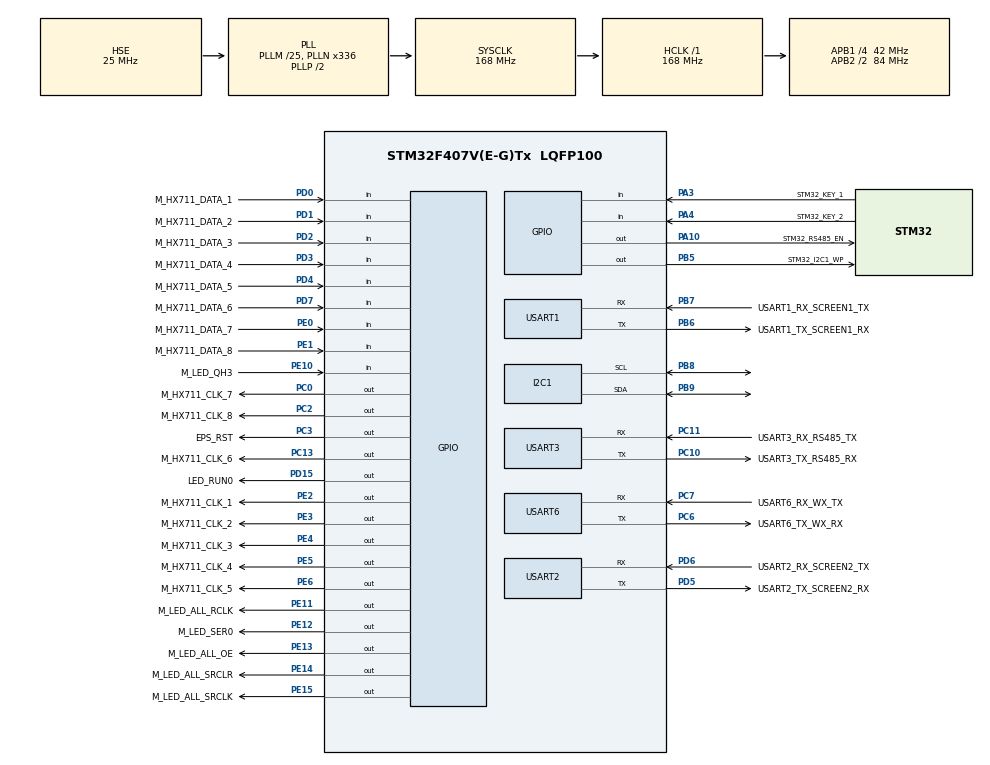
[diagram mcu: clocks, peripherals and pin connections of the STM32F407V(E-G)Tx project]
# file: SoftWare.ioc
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Dma.Request0=USART3_RX
Dma.Request1=USART3_TX
Dma.Request2=USART1_RX
Dma.Request3=USART1_TX
Dma.Request4=USART6_RX
Dma.Request5=USART6_TX
Dma.Request6=USART2_RX
Dma.Request7=USART2_TX
Dma.USART1_RX.2.Direction=DMA_PERIPH_TO_MEMORY
Dma.USART1_RX.2.FIFOMode=DMA_FIFOMODE_DISABLE
Dma.USART1_RX.2.Instance=DMA2_Stream2
Dma.USART1_RX.2.MemDataAlignment=DMA_MDATAALIGN_BYTE
Dma.USART1_RX.2.MemInc=DMA_MINC_ENABLE
Dma.USART1_RX.2.Mode=DMA_CIRCULAR
Dma.USART1_RX.2.PeriphDataAlignment=DMA_PDATAALIGN_BYTE
Dma.USART1_RX.2.PeriphInc=DMA_PINC_DISABLE
Dma.USART1_RX.2.Priority=DMA_PRIORITY_LOW
Dma.USART1_TX.3.Direction=DMA_MEMORY_TO_PERIPH
Dma.USART1_TX.3.FIFOMode=DMA_FIFOMODE_DISABLE
Dma.USART1_TX.3.Instance=DMA2_Stream7
Dma.USART1_TX.3.MemDataAlignment=DMA_MDATAALIGN_BYTE
Dma.USART1_TX.3.MemInc=DMA_MINC_ENABLE
Dma.USART1_TX.3.Mode=DMA_NORMAL
Dma.USART1_TX.3.PeriphDataAlignment=DMA_PDATAALIGN_BYTE
Dma.USART1_TX.3.PeriphInc=DMA_PINC_DISABLE
Dma.USART1_TX.3.Priority=DMA_PRIORITY_LOW
Dma.USART2_RX.6.Direction=DMA_PERIPH_TO_MEMORY
Dma.USART2_RX.6.FIFOMode=DMA_FIFOMODE_DISABLE
Dma.USART2_RX.6.Instance=DMA1_Stream5
Dma.USART2_RX.6.MemDataAlignment=DMA_MDATAALIGN_BYTE
Dma.USART2_RX.6.MemInc=DMA_MINC_ENABLE
Dma.USART2_RX.6.Mode=DMA_CIRCULAR
Dma.USART2_RX.6.PeriphDataAlignment=DMA_PDATAALIGN_BYTE
Dma.USART2_RX.6.PeriphInc=DMA_PINC_DISABLE
Dma.USART2_RX.6.Priority=DMA_PRIORITY_LOW
Dma.USART2_TX.7.Direction=DMA_MEMORY_TO_PERIPH
Dma.USART2_TX.7.FIFOMode=DMA_FIFOMODE_DISABLE
Dma.USART2_TX.7.Instance=DMA1_Stream6
Dma.USART2_TX.7.MemDataAlignment=DMA_MDATAALIGN_BYTE
Dma.USART2_TX.7.MemInc=DMA_MINC_ENABLE
Dma.USART2_TX.7.Mode=DMA_NORMAL
Dma.USART2_TX.7.PeriphDataAlignment=DMA_PDATAALIGN_BYTE
Dma.USART2_TX.7.PeriphInc=DMA_PINC_DISABLE
Dma.USART2_TX.7.Priority=DMA_PRIORITY_LOW
Dma.USART3_RX.0.Direction=DMA_PERIPH_TO_MEMORY
Dma.USART3_RX.0.FIFOMode=DMA_FIFOMODE_DISABLE
Dma.USART3_RX.0.Instance=DMA1_Stream1
Dma.USART3_RX.0.MemDataAlignment=DMA_MDATAALIGN_BYTE
Dma.USART3_RX.0.MemInc=DMA_MINC_ENABLE
Dma.USART3_RX.0.Mode=DMA_CIRCULAR
Dma.USART3_RX.0.PeriphDataAlignment=DMA_PDATAALIGN_BYTE
Dma.USART3_RX.0.PeriphInc=DMA_PINC_DISABLE
Dma.USART3_RX.0.Priority=DMA_PRIORITY_LOW
Dma.USART3_TX.1.Direction=DMA_MEMORY_TO_PERIPH
Dma.USART3_TX.1.FIFOMode=DMA_FIFOMODE_DISABLE
Dma.USART3_TX.1.Instance=DMA1_Stream3
Dma.USART3_TX.1.MemDataAlignment=DMA_MDATAALIGN_BYTE
Dma.USART3_TX.1.MemInc=DMA_MINC_ENABLE
Dma.USART3_TX.1.Mode=DMA_NORMAL
Dma.USART3_TX.1.PeriphDataAlignment=DMA_PDATAALIGN_BYTE
Dma.USART3_TX.1.PeriphInc=DMA_PINC_DISABLE
Dma.USART3_TX.1.Priority=DMA_PRIORITY_LOW
Dma.USART6_RX.4.Direction=DMA_PERIPH_TO_MEMORY
Dma.USART6_RX.4.FIFOMode=DMA_FIFOMODE_DISABLE
Dma.USART6_RX.4.Instance=DMA2_Stream1
Dma.USART6_RX.4.MemDataAlignment=DMA_MDATAALIGN_BYTE
Dma.USART6_RX.4.MemInc=DMA_MINC_ENABLE
Dma.USART6_RX.4.Mode=DMA_CIRCULAR
Dma.USART6_RX.4.PeriphDataAlignment=DMA_PDATAALIGN_BYTE
Dma.USART6_RX.4.PeriphInc=DMA_PINC_DISABLE
Dma.USART6_RX.4.Priority=DMA_PRIORITY_LOW
Dma.USART6_TX.5.Direction=DMA_MEMORY_TO_PERIPH
Dma.USART6_TX.5.FIFOMode=DMA_FIFOMODE_DISABLE
Dma.USART6_TX.5.Instance=DMA2_Stream6
Dma.USART6_TX.5.MemDataAlignment=DMA_MDATAALIGN_BYTE
Dma.USART6_TX.5.MemInc=DMA_MINC_ENABLE
Dma.USART6_TX.5.Mode=DMA_NORMAL
Dma.USART6_TX.5.PeriphDataAlignment=DMA_PDATAALIGN_BYTE
Dma.USART6_TX.5.PeriphInc=DMA_PINC_DISABLE
Dma.USART6_TX.5.Priority=DMA_PRIORITY_LOW
FREERTOS.Tasks01=defaultTask,0,128,StartDefaultTask,Default,NULL,Dynamic,NULL,NULL;appTask1Ms,-3,1024,StartappTask1Ms,Default,NULL,Dynamic,NULL,NULL
I2C1.I2C_Mode=I2C_Fast
Mcu.Family=STM32F4
Mcu.Name=STM32F407V(E-G)Tx
Mcu.Package=LQFP100
NVIC.DMA1_Stream1_IRQn=true\:5\:0\:false\:false\:true\:true\:false\:true\:true
NVIC.DMA1_Stream3_IRQn=true\:5\:0\:false\:false\:true\:true\:false\:true\:true
NVIC.DMA1_Stream5_IRQn=true\:5\:0\:false\:false\:true\:true\:false\:true\:true
NVIC.DMA1_Stream6_IRQn=true\:5\:0\:false\:false\:true\:true\:false\:true\:true
NVIC.DMA2_Stream1_IRQn=true\:5\:0\:false\:false\:true\:true\:false\:true\:true
NVIC.DMA2_Stream2_IRQn=true\:5\:0\:false\:false\:true\:true\:false\:true\:true
NVIC.DMA2_Stream6_IRQn=true\:5\:0\:false\:false\:true\:true\:false\:true\:true
NVIC.DMA2_Stream7_IRQn=true\:5\:0\:false\:false\:true\:true\:false\:true\:true
NVIC.PriorityGroup=NVIC_PRIORITYGROUP_4
NVIC.TIM6_DAC_IRQn=true\:15\:0\:false\:false\:true\:false\:false\:true\:true
NVIC.TimeBase=TIM6_DAC_IRQn
NVIC.TimeBaseIP=TIM6
NVIC.USART1_IRQn=true\:5\:0\:false\:false\:true\:true\:true\:true\:true
NVIC.USART2_IRQn=true\:5\:0\:false\:false\:true\:true\:true\:true\:true
NVIC.USART3_IRQn=true\:5\:0\:false\:false\:true\:true\:true\:true\:true
NVIC.USART6_IRQn=true\:5\:0\:false\:false\:true\:true\:true\:true\:true
PA10.GPIO_Label=STM32_RS485_EN
PA10.GPIO_PuPd=GPIO_PULLUP
PA10.PinState=GPIO_PIN_RESET
PA10.Signal=GPIO_Output
PA13.Mode=Serial_Wire
PA13.Signal=SYS_JTMS-SWDIO
PA14.Mode=Serial_Wire
PA14.Signal=SYS_JTCK-SWCLK
PA3.GPIO_Label=STM32_KEY_1
PA3.Signal=GPIO_Input
PA4.GPIO_Label=STM32_KEY_2
PA4.Signal=GPIO_Input
PB5.GPIO_Label=STM32_I2C1_WP
PB5.GPIO_Speed=GPIO_SPEED_FREQ_MEDIUM
PB5.PinState=GPIO_PIN_SET
PB5.Signal=GPIO_Output
PB6.GPIO_Label=USART1_TX_SCREEN1_RX
PB6.Mode=Asynchronous
PB6.Signal=USART1_TX
PB7.GPIO_Label=USART1_RX_SCREEN1_TX 
PB7.Mode=Asynchronous
PB7.Signal=USART1_RX
PB8.Mode=I2C
PB8.Signal=I2C1_SCL
PB9.Mode=I2C
PB9.Signal=I2C1_SDA
PC0.GPIO_Label=M_HX711_CLK_7
PC0.GPIO_ModeDefaultOutputPP=GPIO_MODE_OUTPUT_PP
PC0.GPIO_PuPd=GPIO_PULLUP
PC0.GPIO_Speed=GPIO_SPEED_FREQ_MEDIUM
PC0.PinState=GPIO_PIN_RESET
PC0.Signal=GPIO_Output
PC10.GPIO_Label=USART3_TX_RS485_RX
PC10.Mode=Asynchronous
PC10.Signal=USART3_TX
PC11.GPIO_Label=USART3_RX_RS485_TX
PC11.Mode=Asynchronous
PC11.Signal=USART3_RX
PC13-ANTI_TAMP.GPIO_Label=M_HX711_CLK_6
PC13-ANTI_TAMP.GPIO_ModeDefaultOutputPP=GPIO_MODE_OUTPUT_PP
PC13-ANTI_TAMP.GPIO_PuPd=GPIO_PULLUP
PC13-ANTI_TAMP.PinState=GPIO_PIN_RESET
PC13-ANTI_TAMP.Signal=GPIO_Output
PC2.GPIO_Label=M_HX711_CLK_8
PC2.GPIO_ModeDefaultOutputPP=GPIO_MODE_OUTPUT_PP
PC2.GPIO_PuPd=GPIO_PULLUP
PC2.GPIO_Speed=GPIO_SPEED_FREQ_MEDIUM
PC2.Signal=GPIO_Output
PC3.GPIO_Label=EPS_RST
PC3.GPIO_ModeDefaultOutputPP=GPIO_MODE_OUTPUT_PP
PC3.GPIO_PuPd=GPIO_PULLUP
PC3.Signal=GPIO_Output
PC6.GPIO_Label=USART6_TX_WX_RX
PC6.Mode=Asynchronous
PC6.Signal=USART6_TX
PC7.GPIO_Label=USART6_RX_WX_TX
PC7.Mode=Asynchronous
PC7.Signal=USART6_RX
PD0.GPIO_Label=M_HX711_DATA_1
PD0.GPIO_PuPd=GPIO_PULLUP
PD0.Signal=GPIO_Input
PD1.GPIO_Label=M_HX711_DATA_2
PD1.GPIO_PuPd=GPIO_PULLUP
PD1.Signal=GPIO_Input
PD15.GPIO_Label=LED_RUN0
PD15.GPIO_ModeDefaultOutputPP=GPIO_MODE_OUTPUT_PP
PD15.GPIO_PuPd=GPIO_PULLUP
PD15.Signal=GPIO_Output
PD2.GPIO_Label=M_HX711_DATA_3
PD2.GPIO_PuPd=GPIO_PULLUP
PD2.Signal=GPIO_Input
PD3.GPIO_Label=M_HX711_DATA_4
PD3.GPIO_PuPd=GPIO_PULLUP
PD3.Signal=GPIO_Input
PD4.GPIO_Label=M_HX711_DATA_5
PD4.GPIO_PuPd=GPIO_PULLUP
PD4.Signal=GPIO_Input
PD5.GPIO_Label=USART2_TX_SCREEN2_RX
PD5.Mode=Asynchronous
PD5.Signal=USART2_TX
PD6.GPIO_Label=USART2_RX_SCREEN2_TX 
PD6.Mode=Asynchronous
PD6.Signal=USART2_RX
PD7.GPIO_Label=M_HX711_DATA_6
PD7.GPIO_PuPd=GPIO_PULLUP
PD7.Signal=GPIO_Input
PE0.GPIO_Label=M_HX711_DATA_7
PE0.GPIO_PuPd=GPIO_PULLUP
PE0.Signal=GPIO_Input
PE1.GPIO_Label=M_HX711_DATA_8
PE1.GPIO_PuPd=GPIO_PULLUP
PE1.Signal=GPIO_Input
PE10.GPIO_Label=M_LED_QH3
PE10.GPIO_PuPd=GPIO_PULLUP
PE10.Signal=GPIO_Input
PE11.GPIO_Label=M_LED_ALL_RCLK
PE11.GPIO_ModeDefaultOutputPP=GPIO_MODE_OUTPUT_PP
PE11.GPIO_PuPd=GPIO_PULLUP
PE11.GPIO_Speed=GPIO_SPEED_FREQ_MEDIUM
PE11.PinState=GPIO_PIN_RESET
PE11.Signal=GPIO_Output
PE12.GPIO_Label=M_LED_SER0
PE12.GPIO_ModeDefaultOutputPP=GPIO_MODE_OUTPUT_PP
PE12.GPIO_PuPd=GPIO_PULLUP
PE12.GPIO_Speed=GPIO_SPEED_FREQ_MEDIUM
PE12.Signal=GPIO_Output
PE13.GPIO_Label=M_LED_ALL_OE
PE13.GPIO_ModeDefaultOutputPP=GPIO_MODE_OUTPUT_PP
PE13.GPIO_PuPd=GPIO_PULLUP
PE13.GPIO_Speed=GPIO_SPEED_FREQ_MEDIUM
PE13.Signal=GPIO_Output
PE14.GPIO_Label=M_LED_ALL_SRCLR
PE14.GPIO_PuPd=GPIO_PULLUP
PE14.GPIO_Speed=GPIO_SPEED_FREQ_MEDIUM
PE14.Signal=GPIO_Output
PE15.GPIO_Label=M_LED_ALL_SRCLK
PE15.GPIO_ModeDefaultOutputPP=GPIO_MODE_OUTPUT_PP
PE15.GPIO_PuPd=GPIO_PULLUP
PE15.GPIO_Speed=GPIO_SPEED_FREQ_MEDIUM
PE15.PinState=GPIO_PIN_RESET
PE15.Signal=GPIO_Output
PE2.GPIO_Label=M_HX711_CLK_1
PE2.GPIO_PuPd=GPIO_PULLUP
PE2.GPIO_Speed=GPIO_SPEED_FREQ_MEDIUM
PE2.Signal=GPIO_Output
PE3.GPIO_Label=M_HX711_CLK_2
PE3.GPIO_ModeDefaultOutputPP=GPIO_MODE_OUTPUT_PP
PE3.GPIO_PuPd=GPIO_PULLUP
PE3.GPIO_Speed=GPIO_SPEED_FREQ_MEDIUM
PE3.PinState=GPIO_PIN_RESET
PE3.Signal=GPIO_Output
PE4.GPIO_Label=M_HX711_CLK_3
PE4.GPIO_ModeDefaultOutputPP=GPIO_MODE_OUTPUT_PP
PE4.GPIO_PuPd=GPIO_PULLUP
PE4.GPIO_Speed=GPIO_SPEED_FREQ_MEDIUM
PE4.PinState=GPIO_PIN_RESET
PE4.Signal=GPIO_Output
PE5.GPIO_Label=M_HX711_CLK_4
PE5.GPIO_ModeDefaultOutputPP=GPIO_MODE_OUTPUT_PP
PE5.GPIO_PuPd=GPIO_PULLUP
PE5.GPIO_Speed=GPIO_SPEED_FREQ_MEDIUM
PE5.Signal=GPIO_Output
PE6.GPIO_Label=M_HX711_CLK_5
PE6.GPIO_ModeDefaultOutputPP=GPIO_MODE_OUTPUT_PP
PE6.GPIO_PuPd=GPIO_PULLUP
PE6.GPIO_Speed=GPIO_SPEED_FREQ_MEDIUM
PE6.Signal=GPIO_Output
PH0-OSC_IN.Mode=HSE-External-Oscillator
PH0-OSC_IN.Signal=RCC_OSC_IN
PH1-OSC_OUT.Mode=HSE-External-Oscillator
PH1-OSC_OUT.Signal=RCC_OSC_OUT
ProjectManager.HeapSize=0x400
ProjectManager.StackSize=0x400
ProjectManager.TargetToolchain=MDK-ARM V5
RCC.48MHZClocksFreq_Value=84000000
RCC.AHBFreq_Value=168000000
RCC.APB1CLKDivider=RCC_HCLK_DIV4
RCC.APB1Freq_Value=42000000
RCC.APB1TimFreq_Value=84000000
RCC.APB2CLKDivider=RCC_HCLK_DIV2
RCC.APB2Freq_Value=84000000
RCC.APB2TimFreq_Value=168000000
RCC.CortexFreq_Value=168000000
RCC.HCLKFreq_Value=168000000
RCC.HSE_VALUE=25000000
RCC.HSI_VALUE=16000000
RCC.LSE_VALUE=32768
RCC.PLLM=25
RCC.PLLN=336
RCC.PLLSourceVirtual=RCC_PLLSOURCE_HSE
RCC.SYSCLKFreq_VALUE=168000000
RCC.SYSCLKSource=RCC_SYSCLKSOURCE_PLLCLK
RCC.VCOOutputFreq_Value=336000000
TIM7.Period=65535
TIM7.Prescaler=83
USART1.VirtualMode=VM_ASYNC
USART2.VirtualMode=VM_ASYNC
USART3.VirtualMode=VM_ASYNC
USART6.VirtualMode=VM_ASYNC
VP_FREERTOS_VS_CMSIS_V1.Mode=CMSIS_V1
VP_SYS_VS_tim6.Mode=TIM6
VP_TIM7_VS_ClockSourceINT.Mode=Enable_Timer
board=custom

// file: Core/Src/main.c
/* USER CODE BEGIN Header */
/**
  ******************************************************************************
  * @file           : main.c
  * @brief          : Main program body
  ******************************************************************************
  * @attention
  *
  * Copyright (c) 2023 STMicroelectronics.
  * All rights reserved.
  *
  * This software is licensed under terms that can be found in the LICENSE file
  * in the root directory of this software component.
  * If no LICENSE file comes with this software, it is provided AS-IS.
  *
  ******************************************************************************
  */
/* USER CODE END Header */
#include "main.h"
#include "cmsis_os.h"
#include "dma.h"
#include "i2c.h"
#include "tim.h"
#include "usart.h"
#include "gpio.h"

/* USER CODE BEGIN Includes */
#include "app_led_ctrl.h"
#include "app_hx711_ctrl.h"
#include "app_main_task.h"
#include "app_key_ctrl.h"
#include "app_sdwe_ctrl.h"
#include "app_modbus_rtu_ctrl.h"
#include "app_t5l_ctrl.h"
#include "app_syspara.h"

/* USER CODE END Includes */

void SystemClock_Config(void);
void MX_FREERTOS_Init(void);

int main(void)
{
  /* USER CODE BEGIN 1 */
  /*
  1.系统单线下载模式
  2.系统是FreeRTOS CMSIS_V1
    https://blog.csdn.net/qq_32348883/article/details/126829395
    CMSIS_V1 : 用于实时操作系统的用API以及基于RTX的参考实现它使软件组件能够跨多个RTOS系统工作
    CMSIS_V2 : 扩展CMSIS-RTOS v1，支持Armv8-M，动态对象创建，提供多核系统，二进制兼容接口
  3.系统已占用TIM6作为系统tick
 */
  /* USER CODE END 1 */

  /* MCU Configuration--------------------------------------------------------*/

  /* Reset of all peripherals, Initializes the Flash interface and the Systick. */
  HAL_Init();

  /* Configure the system clock */
  SystemClock_Config();

  /* Initialize all configured peripherals */
  MX_GPIO_Init();
  MX_DMA_Init();
  MX_TIM7_Init();
  MX_USART3_UART_Init();
  MX_USART1_UART_Init();
  MX_I2C1_Init();
  MX_USART6_UART_Init();
  MX_USART2_UART_Init();
  /* USER CODE BEGIN 2 */
  //PB6 : USART1_TX_SCREEN1_RX
  //PB7 : USART1_RX_SCREEN1_TX
  //串口1 接显示屏
  HAL_UART_Receive_DMA(&huart1, g_T5LCtx[ScreenIndex_Smaller].rxData, T5L_DMG_UART_DATA_LEN);//串口1DMA
  __HAL_UART_ENABLE_IT(&huart1, UART_IT_IDLE);

  //串口2 接显示屏
  HAL_UART_Receive_DMA(&huart2, g_T5LCtx[ScreenIndex_Larger].rxData, T5L_DMG_UART_DATA_LEN);//串口2DMA
  __HAL_UART_ENABLE_IT(&huart2, UART_IT_IDLE);

  //串口3 接RS485
  HAL_UART_Receive_DMA(&huart3, g_ModbusRtu.rxDataUart, MODBUS_RTU_UART_DATA_LEN);//串口3DMA
  __HAL_UART_ENABLE_IT(&huart3, UART_IT_IDLE);

  //PC6 : USART6_TX_WX_RX
  //PC7 : USART6_RX_WX_TX
  //HAL_UART_Receive_DMA(&huart6, g_T5L.rxData, T5L_DMG_UART_DATA_LEN);//串口6DMA
  //__HAL_UART_ENABLE_IT(&huart6, UART_IT_IDLE);

  #if 0
  HAL_UART_Receive_DMA(&huart3, UsartType1.usartDMA_rxBuf, RECEIVELEN);//串口1DMA
  __HAL_UART_ENABLE_IT(&huart3, UART_IT_IDLE);
  #endif

#if 1
	key_init();
	led_init();
	hx711_init();
	screenT5L_Init(&g_T5LCtx[ScreenIndex_Smaller]);
	screenT5L_Init(&g_T5LCtx[ScreenIndex_Larger]);
	ModbusRtu_init();
	readSysDataFromFlash();
	readSysDataFromFlash_3030();
#endif

  /* USER CODE END 2 */

  /* Call init function for freertos objects (in freertos.c) */
  MX_FREERTOS_Init();

  /* Start scheduler */
  osKernelStart();
  /* We should never get here as control is now taken by the scheduler */
  /* Infinite loop */
  while (1)
  {

  }
}

void SystemClock_Config(void)
{
  RCC_OscInitTypeDef RCC_OscInitStruct = {0};
  RCC_ClkInitTypeDef RCC_ClkInitStruct = {0};

  /** Configure the main internal regulator output voltage
  */
  __HAL_RCC_PWR_CLK_ENABLE();
  __HAL_PWR_VOLTAGESCALING_CONFIG(PWR_REGULATOR_VOLTAGE_SCALE1);

  /** Initializes the RCC Oscillators according to the specified parameters
  * in the RCC_OscInitTypeDef structure.
  */
  RCC_OscInitStruct.OscillatorType = RCC_OSCILLATORTYPE_HSE;
  RCC_OscInitStruct.HSEState = RCC_HSE_ON;
  RCC_OscInitStruct.PLL.PLLState = RCC_PLL_ON;
  RCC_OscInitStruct.PLL.PLLSource = RCC_PLLSOURCE_HSE;
  RCC_OscInitStruct.PLL.PLLM = 25;
  RCC_OscInitStruct.PLL.PLLN = 336;
  RCC_OscInitStruct.PLL.PLLP = RCC_PLLP_DIV2;
  RCC_OscInitStruct.PLL.PLLQ = 4;
  if (HAL_RCC_OscConfig(&RCC_OscInitStruct) != HAL_OK)
  {
    Error_Handler();
  }

  /** Initializes the CPU, AHB and APB buses clocks
  */
  RCC_ClkInitStruct.ClockType = RCC_CLOCKTYPE_HCLK|RCC_CLOCKTYPE_SYSCLK
                              |RCC_CLOCKTYPE_PCLK1|RCC_CLOCKTYPE_PCLK2;
  RCC_ClkInitStruct.SYSCLKSource = RCC_SYSCLKSOURCE_PLLCLK;
  RCC_ClkInitStruct.AHBCLKDivider = RCC_SYSCLK_DIV1;
  RCC_ClkInitStruct.APB1CLKDivider = RCC_HCLK_DIV4;
  RCC_ClkInitStruct.APB2CLKDivider = RCC_HCLK_DIV2;

  if (HAL_RCC_ClockConfig(&RCC_ClkInitStruct, FLASH_LATENCY_5) != HAL_OK)
  {
    Error_Handler();
  }
}

void HAL_TIM_PeriodElapsedCallback(TIM_HandleTypeDef *htim)
{
  if (htim->Instance == TIM6) {
    HAL_IncTick();
  }
}

void Error_Handler(void)
{
  __disable_irq();
  while (1)
  {
  }
}

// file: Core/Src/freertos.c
/* USER CODE BEGIN Header */
/**
  ******************************************************************************
  * File Name          : freertos.c
  * Description        : Code for freertos applications
  ******************************************************************************
  * @attention
  *
  * Copyright (c) 2023 STMicroelectronics.
  * All rights reserved.
  *
  * This software is licensed under terms that can be found in the LICENSE file
  * in the root directory of this software component.
  * If no LICENSE file comes with this software, it is provided AS-IS.
  *
  ******************************************************************************
  */
/* USER CODE END Header */

#include "FreeRTOS.h"
#include "task.h"
#include "main.h"
#include "cmsis_os.h"

/* USER CODE BEGIN Includes */
#include "usart.h"
#include "app_main_task.h"
/* USER CODE END Includes */

/* USER CODE BEGIN Variables */
uint32_t tick_test = 0 ,tick_test_total=10000000,tick_test_single=1000,tick_test_cycle=10000;

/* USER CODE END Variables */
osThreadId defaultTaskHandle;
osThreadId appTask1MsHandle;

void StartDefaultTask(void const * argument);
void StartappTask1Ms(void const * argument);

void MX_FREERTOS_Init(void); /* (MISRA C 2004 rule 8.1) */

/* GetIdleTaskMemory prototype (linked to static allocation support) */
void vApplicationGetIdleTaskMemory( StaticTask_t **ppxIdleTaskTCBBuffer, StackType_t **ppxIdleTaskStackBuffer, uint32_t *pulIdleTaskStackSize );

/* USER CODE BEGIN GET_IDLE_TASK_MEMORY */
static StaticTask_t xIdleTaskTCBBuffer;
static StackType_t xIdleStack[configMINIMAL_STACK_SIZE];

void vApplicationGetIdleTaskMemory( StaticTask_t **ppxIdleTaskTCBBuffer, StackType_t **ppxIdleTaskStackBuffer, uint32_t *pulIdleTaskStackSize )
{
  *ppxIdleTaskTCBBuffer = &xIdleTaskTCBBuffer;
  *ppxIdleTaskStackBuffer = &xIdleStack[0];
  *pulIdleTaskStackSize = configMINIMAL_STACK_SIZE;
  /* place for user code */
}
/* USER CODE END GET_IDLE_TASK_MEMORY */

void MX_FREERTOS_Init(void) {

  /* Create the thread(s) */
  /* definition and creation of defaultTask */
  osThreadDef(defaultTask, StartDefaultTask, osPriorityNormal, 0, 128);
  defaultTaskHandle = osThreadCreate(osThread(defaultTask), NULL);

  /* definition and creation of appTask1Ms */
  osThreadDef(appTask1Ms, StartappTask1Ms, osPriorityIdle, 0, 1024);
  appTask1MsHandle = osThreadCreate(osThread(appTask1Ms), NULL);

}

void StartDefaultTask(void const * argument)
{
  /* USER CODE BEGIN StartDefaultTask */
  /* Infinite loop */
  for(;;)
  {
    osDelay(1);
    #if 0
	    HAL_GPIO_TogglePin(GPIOE, GPIO_PIN_15);
	    //osDelay(1000);
	    for(tick_test = 0 ;tick_test<tick_test_cycle;tick_test++)
	    {
	      delay_us(tick_test_single);
	    }
	  #endif
  }
  /* USER CODE END StartDefaultTask */
}

void StartappTask1Ms(void const * argument)
{
  /* USER CODE BEGIN StartappTask1Ms */
  /* Infinite loop */
  for(;;)
  {
    osDelay(1);
    //
    if(Usart1AsScreen1Type.receive_flag)//如果产生了空闲中
		{
			Usart1AsScreen1Type.receive_flag=0;//清零标记
			//串口打印收到的数
			Usart1AsScreen1SendData_DMA(Usart1AsScreen1Type.usartDMA_rxBuf,Usart1AsScreen1Type.rx_len);
			//HAL_Delay(10);
      osDelay(100);
			//串口打印收到的数据的数据长度
			UART1_printf_DMA("Len is %d \r\n",Usart1AsScreen1Type.rx_len);
		}
    // 调用主任务函数
    app_main_task();
  }
  /* USER CODE END StartappTask1Ms */
}
